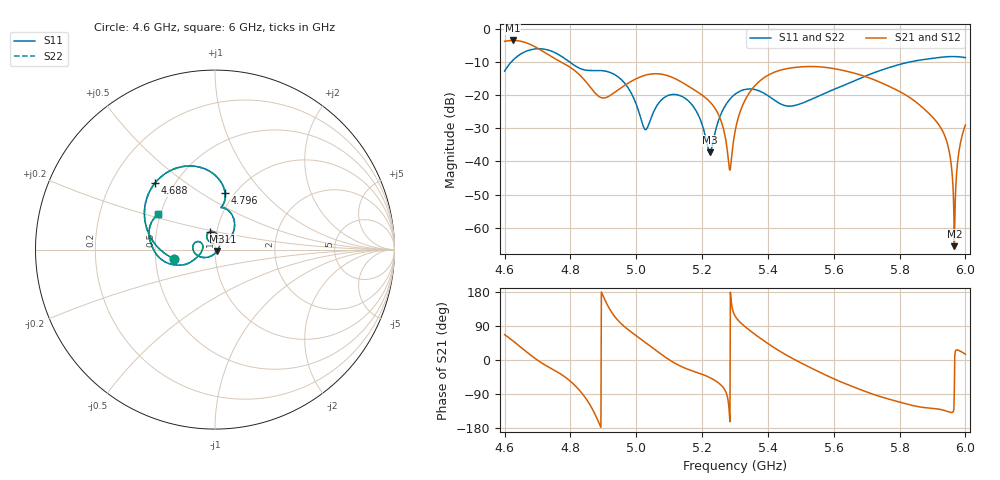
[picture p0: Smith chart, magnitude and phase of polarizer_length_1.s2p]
! TOUCHSTONE file generated by CST MICROWAVE STUDIO
! Date and time: Sun Dec  1 17:16:56 2024
! Project name: test_tuning.cst
! Parameters = {airCoaxOuterDiameter=3; chamferAngle=45; chamferWidth=24; connectorLength=10; drillingHoleDiameter=4.1; feedLength=60; flareDiameter=130; flareLength=70; gratingDistance=0; gratingGap=1.90274; outletLength=30; polarizerLength=64; probe1Diameter=1.3; probe1Distance=14; probe1Length=12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
! Header version: 2024
! Port assignment regex: !\s*Touchstone port\s*([0-9]+)\s*=\s*(CST MWS port|CST DES external port|CST DES block port)\s*(.+)\s* \(\"(.*)\"\)(\s*mode\s*([0-9]+))?.*
! Touchstone port assignment:
! Touchstone port 1 = CST MWS port 1 ("Input1")
! Touchstone port 2 = CST MWS port 2 ("Input2")
# GHz S MA R 50
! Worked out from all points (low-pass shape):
!   1001 points, 4.6 GHz to 6 GHz, reference 50 ohm
!   highest |S21| = -3.41 dB at 4.625 GHz (marker M1); lowest = -65.6 dB at 5.966 GHz (marker M2)
!   |S21| within 3 dB of the highest: start of sweep to 4.711 GHz
!   lowest |S11| = -37.2 dB at 5.223 GHz (marker M3), VSWR 1.03, Z = 51.2 - j0.751 ohm
!   |S11| at or under -10 dB: start of sweep to 4.619532 GHz; 4.798 GHz to 5.827 GHz (1.028 GHz wide, 19.4 % of centre)
!   |S22| runs from -37.2 to -5.9 dB; largest |S21 - S12| = 5.5e-07
!   S11 on the Smith chart (normalised r, x): 4.6 GHz: 0.63, -0.07; 4.688 GHz: 0.39, +0.38; 4.796 GHz: 0.90, +0.64; 5.11 GHz: 0.92, +0.18; 6 GHz: 0.49, +0.22
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4.6  0.2319 -167.1  0.6556 66.9  0.6556 66.9  0.2319 -167.1
4.6252  0.3388 174.1  0.6749 50.6  0.6749 50.6  0.3388 174.1
4.6882  0.4988 132.3  0.5559 6.9  0.5559 6.9  0.4988 132.3
4.796  0.3225 80.1  0.2713 -53.2  0.2713 -53.2  0.3225 80.1
4.8338  0.2493 80.2  0.1901 -86.5  0.1901 -86.5  0.2493 80.2
4.894  0.2363 76.6  0.0921 179.5  0.0921 179.5  0.2363 76.6
4.9528  0.1761 51.6  0.1288 97.0  0.1288 97.0  0.1761 51.6
5.027  0.0304 79.5  0.201 46.4  0.201 46.4  0.0304 79.5
5.0676  0.07574 125.2  0.2112 20.1  0.2112 20.1  0.07574 125.2
5.1096  0.1029 106.8  0.1865 -4.5  0.1865 -4.5  0.1029 106.8
5.1754  0.0655 67.3  0.1216 -30.2  0.1216 -30.2  0.0655 67.3
5.223  0.01378 -32.2  0.08036 -46.2  0.08036 -46.2  0.01378 -32.2
5.258  0.053 -130.0  0.04067 -66.5  0.04067 -66.5  0.053 -130.0
5.2832  0.08591 -150.3  0.007625 -144.4  0.007625 -144.4  0.08591 -150.3
5.3  0.1037 -161.7  0.02812 116.4  0.02812 116.4  0.1037 -161.7
5.3756  0.1154 158.9  0.1652 58.2  0.1652 58.2  0.1154 158.9
5.5338  0.08783 -163.1  0.2724 -22.2  0.2724 -22.2  0.08783 -163.1
5.7676  0.2623 -162.2  0.1371 -103.3  0.1371 -103.3  0.2623 -162.2
5.9244  0.3752 167.8  0.03288 -130.5  0.03288 -130.5  0.3752 167.8
5.9496  0.3843 161.5  0.01521 -136.8  0.01521 -136.8  0.3843 161.5
5.9664  0.3853 157.0  0.0005245 -80.6  0.0005245 -80.6  0.3853 157.0
6  0.3716 148.0  0.03558 15.2  0.03558 15.2  0.3716 148.0
